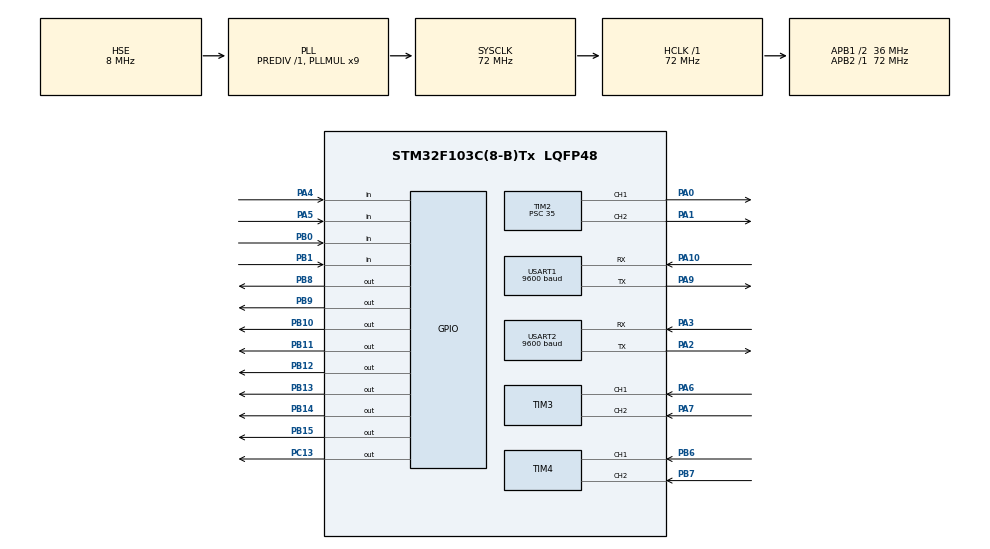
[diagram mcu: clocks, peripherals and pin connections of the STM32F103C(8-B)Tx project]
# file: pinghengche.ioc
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Mcu.Family=STM32F1
Mcu.Name=STM32F103C(8-B)Tx
Mcu.Package=LQFP48
NVIC.PriorityGroup=NVIC_PRIORITYGROUP_2
NVIC.TIM1_UP_IRQn=true\:0\:0\:true\:false\:true\:true\:true\:true
NVIC.USART1_IRQn=true\:1\:0\:true\:false\:true\:true\:true\:true
NVIC.USART2_IRQn=true\:1\:1\:true\:false\:true\:true\:true\:true
PA0-WKUP.GPIO_Speed=GPIO_SPEED_FREQ_HIGH
PA0-WKUP.Signal=S_TIM2_CH1_ETR
PA1.GPIO_Speed=GPIO_SPEED_FREQ_HIGH
PA1.Signal=S_TIM2_CH2
PA10.Mode=Asynchronous
PA10.Signal=USART1_RX
PA13.Mode=Serial_Wire
PA13.Signal=SYS_JTMS-SWDIO
PA14.Mode=Serial_Wire
PA14.Signal=SYS_JTCK-SWCLK
PA2.Mode=Asynchronous
PA2.Signal=USART2_TX
PA3.Mode=Asynchronous
PA3.Signal=USART2_RX
PA4.GPIO_Mode=GPIO_MODE_INPUT
PA4.GPIO_PuPd=GPIO_PULLUP
PA4.Signal=GPIO_Input
PA5.GPIO_Mode=GPIO_MODE_INPUT
PA5.GPIO_PuPd=GPIO_PULLUP
PA5.Signal=GPIO_Input
PA6.Signal=S_TIM3_CH1
PA7.Signal=S_TIM3_CH2
PA9.Mode=Asynchronous
PA9.Signal=USART1_TX
PB0.GPIO_Mode=GPIO_MODE_INPUT
PB0.GPIO_PuPd=GPIO_PULLUP
PB0.Signal=GPIO_Input
PB1.GPIO_Mode=GPIO_MODE_INPUT
PB1.GPIO_PuPd=GPIO_PULLUP
PB1.Signal=GPIO_Input
PB10.GPIO_ModeDefaultOutputPP=GPIO_MODE_OUTPUT_OD
PB10.GPIO_PuPd=GPIO_NOPULL
PB10.GPIO_Speed=GPIO_SPEED_FREQ_HIGH
PB10.PinState=GPIO_PIN_SET
PB10.Signal=GPIO_Output
PB11.GPIO_ModeDefaultOutputPP=GPIO_MODE_OUTPUT_OD
PB11.GPIO_PuPd=GPIO_NOPULL
PB11.GPIO_Speed=GPIO_SPEED_FREQ_HIGH
PB11.PinState=GPIO_PIN_SET
PB11.Signal=GPIO_Output
PB12.GPIO_ModeDefaultOutputPP=GPIO_MODE_OUTPUT_PP
PB12.GPIO_PuPd=GPIO_NOPULL
PB12.GPIO_Speed=GPIO_SPEED_FREQ_HIGH
PB12.Signal=GPIO_Output
PB13.GPIO_ModeDefaultOutputPP=GPIO_MODE_OUTPUT_PP
PB13.GPIO_PuPd=GPIO_NOPULL
PB13.GPIO_Speed=GPIO_SPEED_FREQ_HIGH
PB13.Signal=GPIO_Output
PB14.GPIO_ModeDefaultOutputPP=GPIO_MODE_OUTPUT_PP
PB14.GPIO_PuPd=GPIO_NOPULL
PB14.GPIO_Speed=GPIO_SPEED_FREQ_HIGH
PB14.Signal=GPIO_Output
PB15.GPIO_ModeDefaultOutputPP=GPIO_MODE_OUTPUT_PP
PB15.GPIO_PuPd=GPIO_NOPULL
PB15.GPIO_Speed=GPIO_SPEED_FREQ_HIGH
PB15.Signal=GPIO_Output
PB6.Signal=S_TIM4_CH1
PB7.Signal=S_TIM4_CH2
PB8.GPIO_ModeDefaultOutputPP=GPIO_MODE_OUTPUT_OD
PB8.GPIO_PuPd=GPIO_NOPULL
PB8.GPIO_Speed=GPIO_SPEED_FREQ_HIGH
PB8.PinState=GPIO_PIN_SET
PB8.Signal=GPIO_Output
PB9.GPIO_ModeDefaultOutputPP=GPIO_MODE_OUTPUT_OD
PB9.GPIO_PuPd=GPIO_NOPULL
PB9.GPIO_Speed=GPIO_SPEED_FREQ_HIGH
PB9.PinState=GPIO_PIN_SET
PB9.Signal=GPIO_Output
PC13-TAMPER-RTC.GPIO_Speed=GPIO_SPEED_FREQ_HIGH
PC13-TAMPER-RTC.PinState=GPIO_PIN_SET
PC13-TAMPER-RTC.Signal=GPIO_Output
PD0-OSC_IN.Mode=HSE-External-Oscillator
PD0-OSC_IN.Signal=RCC_OSC_IN
PD1-OSC_OUT.Mode=HSE-External-Oscillator
PD1-OSC_OUT.Signal=RCC_OSC_OUT
ProjectManager.HeapSize=0x200
ProjectManager.StackSize=0x400
ProjectManager.TargetToolchain=MDK-ARM V5.32
RCC.AHBFreq_Value=72000000
RCC.APB1CLKDivider=RCC_HCLK_DIV2
RCC.APB1Freq_Value=36000000
RCC.APB1TimFreq_Value=72000000
RCC.APB2Freq_Value=72000000
RCC.APB2TimFreq_Value=72000000
RCC.HCLKFreq_Value=72000000
RCC.PLLMUL=RCC_PLL_MUL9
RCC.PLLSourceVirtual=RCC_PLLSOURCE_HSE
RCC.SYSCLKFreq_VALUE=72000000
RCC.SYSCLKSource=RCC_SYSCLKSOURCE_PLLCLK
RCC.USBFreq_Value=72000000
SH.S_TIM2_CH1_ETR.0=TIM2_CH1,PWM Generation1 CH1
SH.S_TIM2_CH2.0=TIM2_CH2,PWM Generation2 CH2
SH.S_TIM3_CH1.0=TIM3_CH1,Encoder_Interface
SH.S_TIM3_CH2.0=TIM3_CH2,Encoder_Interface
SH.S_TIM4_CH1.0=TIM4_CH1,Encoder_Interface
SH.S_TIM4_CH2.0=TIM4_CH2,Encoder_Interface
TIM1.AutoReloadPreload=TIM_AUTORELOAD_PRELOAD_ENABLE
TIM1.Period=999
TIM1.Prescaler=71
TIM2.Channel-PWM\ Generation1\ CH1=TIM_CHANNEL_1
TIM2.Channel-PWM\ Generation2\ CH2=TIM_CHANNEL_2
TIM2.Period=99
TIM2.Prescaler=35
TIM3.EncoderMode=TIM_ENCODERMODE_TI12
TIM3.IC1Filter=15
TIM3.IC2Filter=15
TIM4.EncoderMode=TIM_ENCODERMODE_TI12
TIM4.IC1Filter=15
TIM4.IC2Filter=15
TIM4.IC2Polarity=TIM_ICPOLARITY_FALLING
USART1.BaudRate=9600
USART1.VirtualMode=VM_ASYNC
USART2.BaudRate=9600
USART2.VirtualMode=VM_ASYNC
VP_TIM1_VS_ClockSourceINT.Mode=Internal
VP_TIM2_VS_ClockSourceINT.Mode=Internal
board=custom

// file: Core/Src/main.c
/* USER CODE BEGIN Header */
/**
  ******************************************************************************
  * @file           : main.c
  * @brief          : Main program body
  ******************************************************************************
  * @attention
  *
  * Copyright (c) 2026 STMicroelectronics.
  * All rights reserved.
  *
  * This software is licensed under terms that can be found in the LICENSE file
  * in the root directory of this software component.
  * If no LICENSE file comes with this software, it is provided AS-IS.
  *
  ******************************************************************************
  */
/* USER CODE END Header */
#include "main.h"
#include "tim.h"
#include "usart.h"
#include "gpio.h"

/* USER CODE BEGIN Includes */
#include "OLED.h"
#include "LED.h"
#include "Timer.h"
#include "Key.h"
#include "MPU6050.h"
#include "Motor.h"
#include "Encoder.h"
#include "Serial.h"
#include "BlueSerial.h"
#include "PID.h"
#include <math.h>
#include <stdlib.h>
#include <string.h>
/* USER CODE END Includes */

/* USER CODE BEGIN PV */
/*MPU6050测试*/
int16_t AX,AY,AZ,GX,GY,GZ;
uint8_t TimerErrorFlag;
uint16_t TimerCount;
uint8_t KeyNum,RunFlag;		//小车启动停止标志位

float AngleAcc;					//加速度计测定角度
float AngleGyro;				//陀螺仪测定角度
float Angle;						//滤波后的稳定角度

int16_t LeftPWM,RightPWM;		//左右电机PWM
int16_t AvePWM,DifPWM;			//平均PWM,差分PWM

float LeftSpeed,RightSpeed;		//左右电机速度
float AveSpeed,DifSpeed;				//平均速度,差分速度

PID_t AnglePID={				//角度环PID(离散形式)
		.Kp=3.41,
		.Ki=0.17,
		.Kd=3.22,

		.OutMax=100,
		.OutMin=-100,

		.OutOffset=0,

		.ErrorIntMax=600,
		.ErrorIntMin=-600,
};

PID_t SpeedPID={				//速度环PID(离散形式)
		.Kp=2.02,
		.Ki=0.07,
		.Kd=0,

		.OutMax=20,
		.OutMin=-20,

		.ErrorIntMax=150,
		.ErrorIntMin=-150,
};

PID_t TurnPID={				//角度环PID(离散形式)
		.Kp=4.38,
		.Ki=3.82,
		.Kd=0,

		.OutMax=50,
		.OutMin=-50,

		.ErrorIntMax=20,
		.ErrorIntMin=-20,
};
/* USER CODE END PV */

void SystemClock_Config(void);

int main(void)
{

  /* MCU Configuration--------------------------------------------------------*/

  /* Reset of all peripherals, Initializes the Flash interface and the Systick. */
  HAL_Init();

  /* Configure the system clock */
  SystemClock_Config();

  /* Initialize all configured peripherals */
  MX_GPIO_Init();
  MX_TIM1_Init();
  MX_TIM2_Init();
  MX_TIM3_Init();
  MX_TIM4_Init();
  MX_USART1_UART_Init();
  MX_USART2_UART_Init();
  /* USER CODE BEGIN 2 */
	OLED_Init();
	LED_Init();
	Timer_Init();
	Key_Init();
	MPU6050_Init();
	Motor_Init();
	Encoder_Init();
	Serial_Init();
	BlueSerial_Init();
  /* USER CODE END 2 */

  /* Infinite loop */
  while (1)
  {

    /* USER CODE BEGIN 3 */
			if(RunFlag==1) {LED_ON();} else {LED_OFF();}
			KeyNum=Key_GetNum();
			if(KeyNum==1)
			{
					if(RunFlag==0)
					{
							PID_Init(&AnglePID);
							PID_Init(&SpeedPID);
							PID_Init(&TurnPID);
							RunFlag=1;
					}
					else
					{
							RunFlag=0;
					}

			}

			OLED_Clear();
			OLED_Printf(0,0,OLED_6X8,"  Angle");
			OLED_Printf(0,8,OLED_6X8,"P:%05.2f",AnglePID.Kp);
			OLED_Printf(0,16,OLED_6X8,"I:%05.2f",AnglePID.Ki);
			OLED_Printf(0,24,OLED_6X8,"D:%05.2f",AnglePID.Kd);
			OLED_Printf(0,32,OLED_6X8,"T:%+05.1f",AnglePID.Target);
			OLED_Printf(0,40,OLED_6X8,"A:%+05.1f",Angle);
			OLED_Printf(0,48,OLED_6X8,"O:%+05.0f",AnglePID.Out);
			OLED_Printf(0,56, OLED_6X8, "GY:%+05d", GY);
			OLED_Printf(56,56, OLED_6X8, "Offset:%02.0f",AnglePID.OutOffset);

			OLED_Printf(50,0,OLED_6X8,"Speed");
			OLED_Printf(50,8,OLED_6X8,"%05.2f",SpeedPID.Kp);
			OLED_Printf(50,16,OLED_6X8,"%05.2f",SpeedPID.Ki);
			OLED_Printf(50,24,OLED_6X8,"%05.2f",SpeedPID.Kd);
			OLED_Printf(50,32,OLED_6X8,"%+05.1f",SpeedPID.Target);
			OLED_Printf(50,40,OLED_6X8,"%+05.1f",AveSpeed);
			OLED_Printf(50,48,OLED_6X8,"%+05.0f",SpeedPID.Out);

			OLED_Printf(88,0,OLED_6X8,"Turn");
			OLED_Printf(88,8,OLED_6X8,"%05.2f",TurnPID.Kp);
			OLED_Printf(88,16,OLED_6X8,"%05.2f",TurnPID.Ki);
			OLED_Printf(88,24,OLED_6X8,"%05.2f",TurnPID.Kd);
			OLED_Printf(88,32,OLED_6X8,"%+05.1f",TurnPID.Target);
			OLED_Printf(88,40,OLED_6X8,"%+05.1f",DifSpeed);
			OLED_Printf(88,48,OLED_6X8,"%+05.0f",TurnPID.Out);
			OLED_Update();

			if (BlueSerial_RxFlag == 1)
			{
					char *Tag = strtok(BlueSerial_RxPacket, ",");
					if (strcmp(Tag, "key") == 0)//收到按键数据包
					{
							char *Name = strtok(NULL, ",");
							char *Action = strtok(NULL, ",");

					}
					else if (strcmp(Tag, "slider") == 0)//滑杆数据包
					{
							char *Name = strtok(NULL, ",");
							char *Value = strtok(NULL, ",");

							if(strcmp(Name,"AngleKp")==0)
							{
									AnglePID.Kp=atof(Value);
							}
							else if(strcmp(Name,"AngleKi")==0)
							{
									AnglePID.Ki=atof(Value);
							}
							else if(strcmp(Name,"AngleKd")==0)
							{
									AnglePID.Kd=atof(Value);
							}
							else if(strcmp(Name,"TurnKp")==0)
							{
									TurnPID.Kp=atof(Value);
							}
							else if(strcmp(Name,"TurnKi")==0)
							{
									TurnPID.Ki=atof(Value);
							}
							else if(strcmp(Name,"TurnKd")==0)
							{
									TurnPID.Kd=atof(Value);
							}
							else if(strcmp(Name,"Offset")==0)
							{
									AnglePID.OutOffset=atof(Value);
							}
					}
					else if (strcmp(Tag, "joystick") == 0)//摇杆数据包
					{
							int8_t LH = atoi(strtok(NULL, ","));
							int8_t LV = atoi(strtok(NULL, ","));
							int8_t RH = atoi(strtok(NULL, ","));
							int8_t RV = atoi(strtok(NULL, ","));

							SpeedPID.Target=LV/25.0;		//-4~+4转/秒
							TurnPID.Target=RH/25.0;
					}

					BlueSerial_RxFlag = 0;
			}

			BlueSerial_Printf("[plot,%f,%f,%f]",AnglePID.ErrorInt,SpeedPID.ErrorInt,TurnPID.ErrorInt);
			//BlueSerial_Printf("%f,%f,%f\n",AnglePID.ErrorInt,SpeedPID.ErrorInt,TurnPID.ErrorInt);//VOFA+波形图显示

  }
  /* USER CODE END 3 */
}

void SystemClock_Config(void)
{
  RCC_OscInitTypeDef RCC_OscInitStruct = {0};
  RCC_ClkInitTypeDef RCC_ClkInitStruct = {0};

  /** Initializes the RCC Oscillators according to the specified parameters
  * in the RCC_OscInitTypeDef structure.
  */
  RCC_OscInitStruct.OscillatorType = RCC_OSCILLATORTYPE_HSE;
  RCC_OscInitStruct.HSEState = RCC_HSE_ON;
  RCC_OscInitStruct.HSEPredivValue = RCC_HSE_PREDIV_DIV1;
  RCC_OscInitStruct.HSIState = RCC_HSI_ON;
  RCC_OscInitStruct.PLL.PLLState = RCC_PLL_ON;
  RCC_OscInitStruct.PLL.PLLSource = RCC_PLLSOURCE_HSE;
  RCC_OscInitStruct.PLL.PLLMUL = RCC_PLL_MUL9;
  if (HAL_RCC_OscConfig(&RCC_OscInitStruct) != HAL_OK)
  {
    Error_Handler();
  }

  /** Initializes the CPU, AHB and APB buses clocks
  */
  RCC_ClkInitStruct.ClockType = RCC_CLOCKTYPE_HCLK|RCC_CLOCKTYPE_SYSCLK
                              |RCC_CLOCKTYPE_PCLK1|RCC_CLOCKTYPE_PCLK2;
  RCC_ClkInitStruct.SYSCLKSource = RCC_SYSCLKSOURCE_PLLCLK;
  RCC_ClkInitStruct.AHBCLKDivider = RCC_SYSCLK_DIV1;
  RCC_ClkInitStruct.APB1CLKDivider = RCC_HCLK_DIV2;
  RCC_ClkInitStruct.APB2CLKDivider = RCC_HCLK_DIV1;

  if (HAL_RCC_ClockConfig(&RCC_ClkInitStruct, FLASH_LATENCY_2) != HAL_OK)
  {
    Error_Handler();
  }
}

/* USER CODE BEGIN 4 */
/**
  * @brief  定时器更新中断回调: TIM1每1ms进入一次，承载按键扫描与平衡控制
  * @note   对应原标准库中的 TIM1_UP_IRQHandler
  */
void HAL_TIM_PeriodElapsedCallback(TIM_HandleTypeDef *htim)
{
	if (htim->Instance == TIM1)
	{
		static uint16_t Count0,Count1;

		Key_Tick();//按键

		Count0++;
		if(Count0>=10)		//PID调控周期(10ms)
		{
				Count0=0;
				MPU6050_GetData(&AX,&AY,&AZ,&GX,&GY,&GZ);

				GY+=3;																					//抑制零漂

				AngleAcc=-atan2(AX,AZ)/3.14159*180;						//俯仰角(弧度转角度)
				AngleAcc+=8.1;

				AngleGyro=Angle+GY/32768.0*2000*0.01;     		  //俯仰角积分公式

				float Alpha=0.01;																//滤波系数(陀螺仪为主,加速度计为辅)
				Angle=Alpha*AngleAcc+(1-Alpha)*AngleGyro;				//互补滤波公式

				if(Angle>50||Angle<-50)		//俯仰角过高停止
				{
						RunFlag=0;
				}

				if(RunFlag==1)//小车启动
				{
						//角度环PID调控代码
						AnglePID.Actual=Angle;
						PID_Update(&AnglePID);
						AvePWM=-AnglePID.Out;		//输出控制量

						LeftPWM=AvePWM+DifPWM/2;
						RightPWM=AvePWM-DifPWM/2;

						//PWM判断
						if(LeftPWM>100) {LeftPWM=100;} else if(LeftPWM<-100) {LeftPWM=-100;}
						if(RightPWM>100) {RightPWM=100;} else if(RightPWM<-100) {RightPWM=-100;}

						Motor_SetPWM(1,LeftPWM);
						Motor_SetPWM(2,RightPWM);
				}
				else
				{
						//左右电机停止
						Motor_SetPWM(1,0);
						Motor_SetPWM(2,0);
				}
		}

		Count1++;
		if(Count1>=50)		//编码器读取电机速度(50ms)
		{
				Count1=0;
				LeftSpeed=Encoder_Get(1)/44.0/0.05/9.27666;
				RightSpeed=Encoder_Get(2)/44.0/0.05/9.27666;

				AveSpeed=(LeftSpeed+RightSpeed)/2.0;
				DifSpeed=LeftSpeed-RightSpeed;

				if(RunFlag==1)
				{
						//速度环PID调控代码
						SpeedPID.Actual=AveSpeed;
						PID_Update(&SpeedPID);
						AnglePID.Target=SpeedPID.Out;

						//转向环PID调控代码
						TurnPID.Actual=DifSpeed;
						PID_Update(&TurnPID);
						DifPWM=TurnPID.Out;
				}
		}

		TimerErrorFlag=1;
		TimerCount=__HAL_TIM_GET_COUNTER(&htim1);
	}
}

/**
  * @brief  串口接收完成回调: 按外设分发到对应驱动
  */
void HAL_UART_RxCpltCallback(UART_HandleTypeDef *huart)
{
	if (huart->Instance == USART1)
	{
		Serial_RxCpltCallback();
	}
	else if (huart->Instance == USART2)
	{
		BlueSerial_RxCpltCallback();
	}
}
/* USER CODE END 4 */

void Error_Handler(void)
{
  __disable_irq();
  while (1)
  {
  }
}
